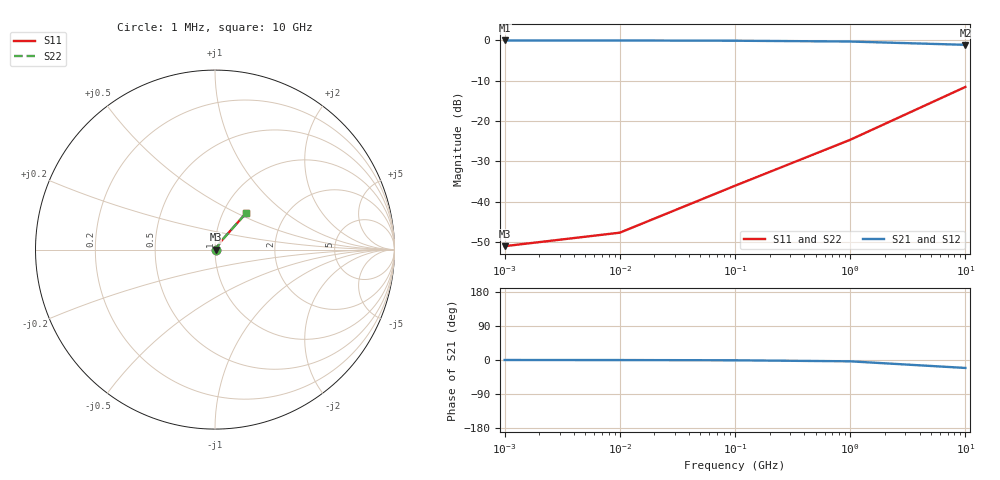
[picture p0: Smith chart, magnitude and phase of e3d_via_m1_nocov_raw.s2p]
! Sonnet Data File
! From: em Version : 18.53-Lite
! From Project: e3d_via_m1_nocov
! Data is NOT De-embedded
! Data File Written: 10/12/2026 13:37:29
!< HDATE 10/12/2026 13:37:29
!< MDATE 10/12/2026 13:37:29
# GHZ S RI R 50.00000
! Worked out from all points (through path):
!   5 points, 1 MHz to 10 GHz, reference 50 ohm
!   highest |S21| = -0.02 dB at 1 MHz (marker M1); lowest = -1.1 dB at 10 GHz (marker M2)
!   lowest |S11| = -51.0 dB at 1 MHz (marker M3), VSWR 1.01, Z = 50.3 + j0.0271 ohm
!   |S11| at or under -10 dB: start of sweep to end of sweep
!   |S22| runs from -51.0 to -11.5 dB; largest |S21 - S12| = 1e-13
0.001  0.0028 0.000269  0.9972 -0.000281  0.9972 -0.000281  0.0028 0.000269
0.01  0.00322 0.00258  0.9968 -0.0027  0.9968 -0.0027  0.00322 0.00258
0.1  0.0104 0.0119  0.9896 -0.013  0.9896 -0.013  0.0104 0.0119
1  0.0344 0.0473  0.9655 -0.0587  0.9655 -0.0587  0.0344 0.0473
10  0.1714 0.2015  0.8217 -0.3151  0.8217 -0.3151  0.1714 0.2015
